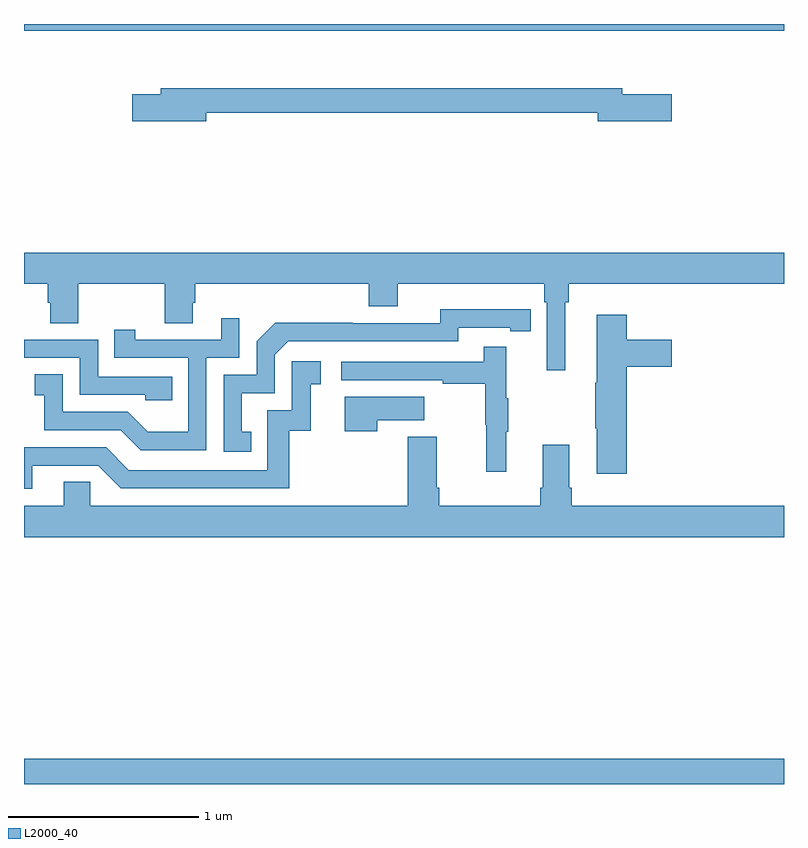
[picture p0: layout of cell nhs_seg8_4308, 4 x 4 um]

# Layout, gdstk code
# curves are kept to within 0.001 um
import gdstk
lib = gdstk.Library(unit=1e-6, precision=1e-09)
def R(c, l, rs):  # rectangles x0, y0, x1, y1
    for r in rs: c.add(gdstk.rectangle(r[:2], r[2:], *l))
def P(c, l, *ps):  # polygons
    for p in ps: c.add(gdstk.Polygon(p, *l))
L2000_40 = (2000, 40)

nhs_seg8_4308 = lib.new_cell('nhs_seg8_4308')
R(nhs_seg8_4308, L2000_40, [(375,1081.9,379,1082.032), (375,1085.864,379,1085.9)])
P(nhs_seg8_4308, L2000_40, [(375.958,1085.434),(378.02,1085.434),(378.02,1085.387),(378.409,1085.387),(378.409,1085.529),(378.148,1085.529),(378.148,1085.563),(375.719,1085.563),(375.719,1085.529),(375.57,1085.529),(375.57,1085.387),(375.958,1085.387)],
  [(377.848,1084.436),(377.867,1084.436),(377.867,1084.532),(379,1084.532),(379,1084.696),(375,1084.696),(375,1084.532),(375.125,1084.532),(375.125,1084.434),(375.137,1084.434),(375.137,1084.324),(375.285,1084.324),(375.285,1084.532),(375.742,1084.532),(375.742,1084.324),(375.889,1084.324),(375.889,1084.434),(375.902,1084.434),(375.902,1084.532),(376.814,1084.532),(376.814,1084.415),(376.966,1084.415),(376.966,1084.532),(377.738,1084.532),(377.738,1084.436),(377.751,1084.436),(377.751,1084.077),(377.848,1084.077)],
  [(376.196,1083.753),(376.147,1083.753),(376.147,1083.957),(376.32,1083.957),(376.32,1084.158),(376.392,1084.23),(377.286,1084.23),(377.286,1084.302),(377.558,1084.302),(377.558,1084.282),(377.666,1084.282),(377.666,1084.398),(377.19,1084.399),(377.19,1084.326),(376.73,1084.326),(376.73,1084.328),(376.322,1084.328),(376.224,1084.23),(376.224,1084.053),(376.05,1084.053),(376.05,1083.648),(376.196,1083.648)],
  [(378.173,1084.097),(378.409,1084.097),(378.409,1084.239),(378.173,1084.239),(378.173,1084.369),(378.014,1084.369),(378.014,1084.013),(378.007,1084.013),(378.007,1083.772),(378.014,1083.772),(378.014,1083.534),(378.173,1083.534)],
  [(375.96,1084.143),(376.134,1084.143),(376.134,1084.351),(376.037,1084.351),(376.037,1084.239),(375.586,1084.239),(375.586,1084.291),(375.475,1084.291),(375.475,1084.143),(375.864,1084.143),(375.864,1083.754),(375.65,1083.754),(375.546,1083.858),(375.204,1083.858),(375.204,1084.057),(375.057,1084.057),(375.057,1083.947),(375.106,1083.947),(375.106,1083.762),(375.509,1083.762),(375.614,1083.657),(375.96,1083.657)],
  [(375.779,1084.044),(375.39,1084.044),(375.39,1084.239),(375,1084.239),(375,1084.143),(375.294,1084.143),(375.294,1083.948),(375.639,1083.948),(375.639,1083.921),(375.779,1083.921)],
  [(377.537,1083.755),(377.548,1083.755),(377.548,1083.929),(377.537,1083.929),(377.537,1084.201),(377.419,1084.201),(377.419,1084.122),(376.671,1084.122),(376.671,1084.026),(377.203,1084.026),(377.203,1084.006),(377.427,1084.006),(377.427,1083.792),(377.434,1083.792),(377.434,1083.543),(377.537,1083.543)],
  [(375.043,1083.576),(375.39,1083.576),(375.51,1083.456),(376.397,1083.456),(376.397,1083.759),(376.508,1083.759),(376.508,1084.005),(376.561,1084.005),(376.561,1084.126),(376.41,1084.126),(376.41,1083.867),(376.281,1083.867),(376.281,1083.552),(375.552,1083.552),(375.432,1083.672),(375,1083.672),(375,1083.453),(375.043,1083.453)],
  [(376.859,1083.815),(377.107,1083.815),(377.107,1083.937),(376.688,1083.937),(376.688,1083.756),(376.859,1083.756)],
  [(379,1083.364),(377.882,1083.364),(377.882,1083.46),(377.869,1083.46),(377.869,1083.685),(377.729,1083.685),(377.729,1083.46),(377.717,1083.46),(377.717,1083.364),(377.186,1083.364),(377.186,1083.46),(377.173,1083.46),(377.173,1083.727),(377.021,1083.727),(377.021,1083.364),(375.348,1083.364),(375.348,1083.491),(375.209,1083.491),(375.209,1083.364),(375,1083.364),(375,1083.2),(379,1083.2)])

lib.write_gds('nhs_seg8_4308.gds')
